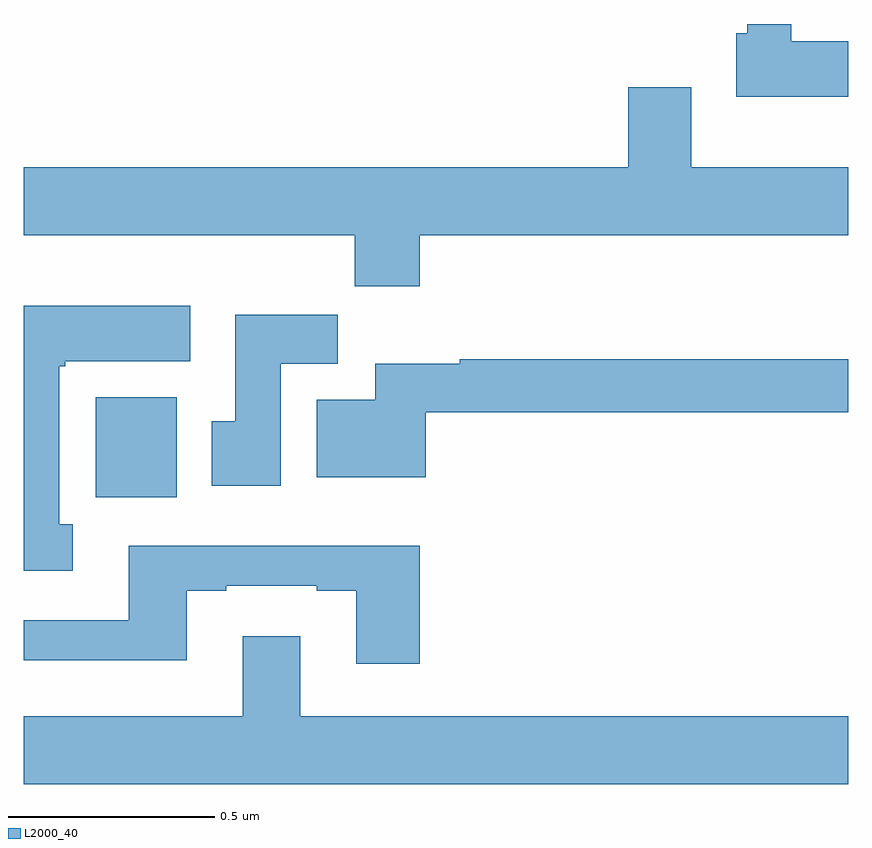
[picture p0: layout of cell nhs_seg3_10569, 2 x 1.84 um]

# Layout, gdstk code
import gdstk
lib = gdstk.Library(unit=1e-6, precision=1e-09)
def R(c, l, rs):  # rectangles x0, y0, x1, y1
    for r in rs: c.add(gdstk.rectangle(r[:2], r[2:], *l))
def P(c, l, *ps):  # polygons
    for p in ps: c.add(gdstk.Polygon(p, *l))
L2000_40 = (2000, 40)

nhs_seg3_10569 = lib.new_cell('nhs_seg3_10569')
R(nhs_seg3_10569, L2000_40, [(242.174,728.252,242.371,728.494)])
P(nhs_seg3_10569, L2000_40, [(244,729.358),(243.862,729.358),(243.862,729.4),(243.755,729.4),(243.755,729.378),(243.728,729.378),(243.728,729.224),(244,729.224)],
  [(242.96,728.888),(244,728.888),(244,729.052),(243.619,729.052),(243.619,729.247),(243.467,729.247),(243.467,729.052),(242,729.052),(242,728.888),(242.803,728.888),(242.803,728.764),(242.96,728.764)],
  [(242.119,728.186),(242.086,728.186),(242.086,728.569),(242.1,728.569),(242.1,728.582),(242.404,728.582),(242.404,728.716),(242,728.716),(242,728.073),(242.119,728.073)],
  [(242.623,728.576),(242.762,728.576),(242.762,728.695),(242.513,728.695),(242.513,728.436),(242.456,728.436),(242.456,728.28),(242.623,728.28)],
  [(242.975,728.458),(244,728.458),(244,728.587),(243.058,728.587),(243.058,728.576),(242.852,728.576),(242.852,728.488),(242.711,728.488),(242.711,728.3),(242.975,728.3)],
  [(242.96,728.134),(242.255,728.134),(242.255,727.953),(242,727.953),(242,727.856),(242.395,727.856),(242.395,728.025),(242.491,728.025),(242.491,728.037),(242.711,728.037),(242.711,728.025),(242.807,728.025),(242.807,727.848),(242.96,727.848)],
  [(244,727.72),(242.671,727.72),(242.671,727.915),(242.531,727.915),(242.531,727.72),(242,727.72),(242,727.556),(244,727.556)])

lib.write_gds('nhs_seg3_10569.gds')
